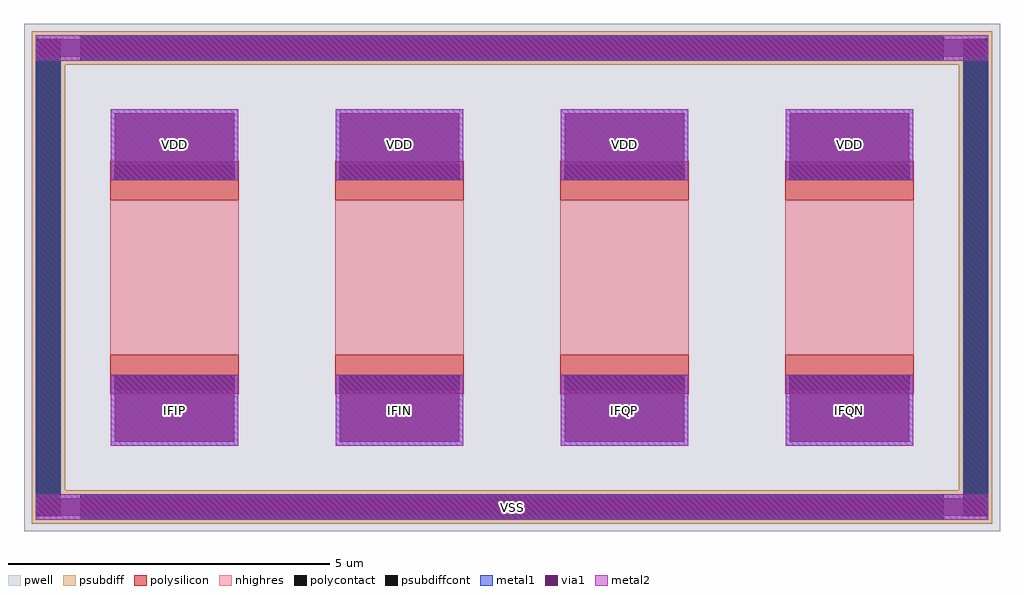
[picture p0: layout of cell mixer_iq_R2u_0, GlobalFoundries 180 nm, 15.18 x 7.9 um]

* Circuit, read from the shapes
.subckt mixer_iq_R2u_0 IFIP VDD IFIN IFQP IFQN VSS
XR1 VDD IFIP VSS ppolyf_u_1k r_width=2u r_length=2.4u
XR2 VDD IFIN VSS ppolyf_u_1k r_width=2u r_length=2.4u
XR3 VDD IFQP VSS ppolyf_u_1k r_width=2u r_length=2.4u
XR4 VDD IFQN VSS ppolyf_u_1k r_width=2u r_length=2.4u
.ends

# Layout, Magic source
magic
tech gf180mcuD
magscale 1 10
<< pwell >>
rect -468 -464 2568 1116
<< psubdiff >>
rect -444 -440 2544 -336
rect -444 988 2544 1092
rect -444 -336 -340 988
rect 2440 -336 2544 988
<< polysilicon >>
rect -200 566 200 688
rect -200 -36 200 86
rect 500 566 900 688
rect 500 -36 900 86
rect 1200 566 1600 688
rect 1200 -36 1600 86
rect 1900 566 2300 688
rect 1900 -36 2300 86
<< nhighres >>
rect -200 86 200 566
rect 500 86 900 566
rect 1200 86 1600 566
rect 1900 86 2300 566
<< psubdiffcont >>
rect -431 -416 -353 1068
rect 2453 -416 2531 1068
rect -293 1001 2393 1079
rect -293 -427 2393 -349
<< polycontact >>
rect -187 629 187 675
rect -187 -23 187 23
rect 513 629 887 675
rect 513 -23 887 23
rect 1213 629 1587 675
rect 1213 -23 1587 23
rect 1913 629 2287 675
rect 1913 -23 2287 23
<< metal1 >>
rect -198 629 198 675
rect -198 -23 198 23
rect 502 629 898 675
rect 502 -23 898 23
rect 1202 629 1598 675
rect 1202 -23 1598 23
rect 1902 629 2298 675
rect 1902 -23 2298 23
rect -198 -197 198 23
rect -198 629 198 849
rect 502 -197 898 23
rect 502 629 898 849
rect 1202 -197 1598 23
rect 1202 629 1598 849
rect 1902 -197 2298 23
rect 1902 629 2298 849
rect -431 -427 2531 -349
rect -431 1001 2531 1079
rect -431 -427 -353 1079
rect 2453 -427 2531 1079
rect -431 -427 2531 -349
rect -431 1001 2531 1079
<< metal2 >>
rect -198 -197 198 23
rect -198 629 198 849
rect 502 -197 898 23
rect 502 629 898 849
rect 1202 -197 1598 23
rect 1202 629 1598 849
rect 1902 -197 2298 23
rect 1902 629 2298 849
rect -431 -427 2531 -349
rect -431 1001 2531 1079
<< via1 >>
rect -186 -185 186 11
rect -186 641 186 837
rect 514 -185 886 11
rect 514 641 886 837
rect 1214 -185 1586 11
rect 1214 641 1586 837
rect 1914 -185 2286 11
rect 1914 641 2286 837
rect -419 -415 2519 -361
rect -419 1013 2519 1067
<< labels >>
flabel metal2 s -198 -197 198 23 0 FreeSans 80 0 0 0 IFIP
port 1 nsew signal bidirectional
flabel metal2 s -198 629 198 849 0 FreeSans 80 0 0 0 VDD
port 2 nsew signal bidirectional
flabel metal2 s 502 -197 898 23 0 FreeSans 80 0 0 0 IFIN
port 3 nsew signal bidirectional
flabel metal2 s 502 629 898 849 0 FreeSans 80 0 0 0 VDD
port 2 nsew signal bidirectional
flabel metal2 s 1202 -197 1598 23 0 FreeSans 80 0 0 0 IFQP
port 4 nsew signal bidirectional
flabel metal2 s 1202 629 1598 849 0 FreeSans 80 0 0 0 VDD
port 2 nsew signal bidirectional
flabel metal2 s 1902 -197 2298 23 0 FreeSans 80 0 0 0 IFQN
port 5 nsew signal bidirectional
flabel metal2 s 1902 629 2298 849 0 FreeSans 80 0 0 0 VDD
port 2 nsew signal bidirectional
flabel metal2 s -431 -427 2531 -349 0 FreeSans 80 0 0 0 VSS
port 6 nsew signal bidirectional
<< end >>
